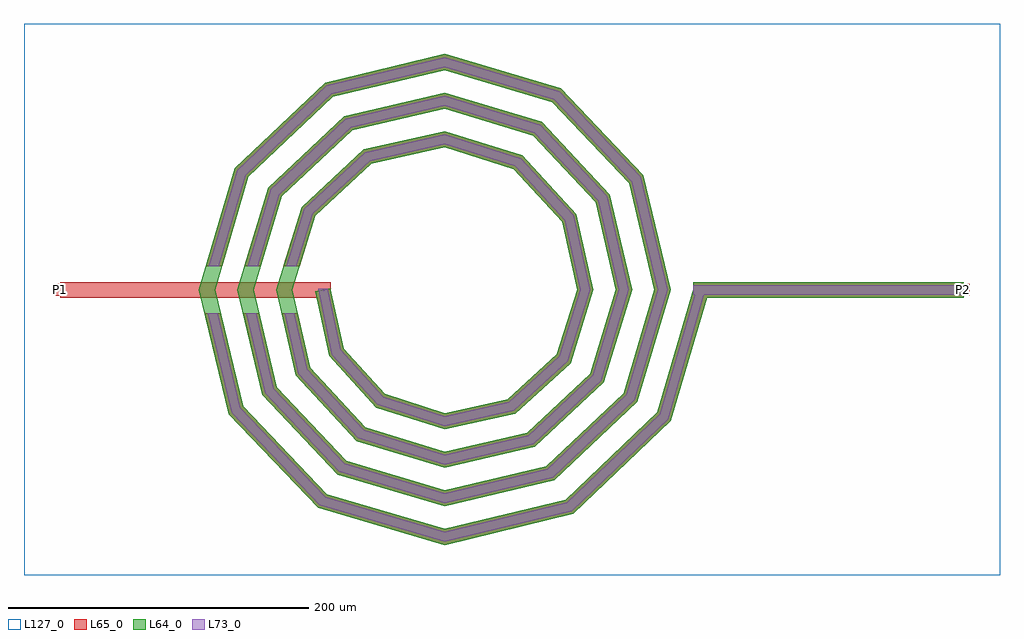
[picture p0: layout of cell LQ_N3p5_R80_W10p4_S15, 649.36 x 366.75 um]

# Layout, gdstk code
import gdstk
lib = gdstk.Library(unit=1e-6, precision=1e-09)
def R(c, l, rs):  # rectangles x0, y0, x1, y1
    for r in rs: c.add(gdstk.rectangle(r[:2], r[2:], *l))
def P(c, l, *ps):  # polygons
    for p in ps: c.add(gdstk.Polygon(p, *l))
L64_0 = (64, 0)
L65_0 = (65, 0)
L73_0 = (73, 0)
L127_0 = (127, 0)

lq_n3p5_r80_w10p4_s15 = lib.new_cell('LQ_N3p5_R80_W10p4_S15')
R(lq_n3p5_r80_w10p4_s15, L64_0, [(165.638,-5.2,345.638,5.2)])
P(lq_n3p5_r80_w10p4_s15, L64_0, [(-67.144,-39.065),(-39.692,-69.254),(0.246,-81.962),(42.259,-72.715),(74.807,-42.919),(88.384,0.229),(78.285,45.457),(46.143,80.361),(0.215,94.807),(-48.656,83.854),(-85.916,49.366),(-101.229,0.202),(-89.422,-51.856),(-52.588,-91.472),(0.19,-107.652),(55.058,-94.99),(97.029,-55.808),(114.074,0.18),(100.557,58.261),(59.028,102.586),(0.171,120.497),(-61.464,106.123),(-108.144,62.246),(-126.92,0.163),(-111.69,-64.669),(-65.464,-113.702),(0.155,-133.342),(67.874,-117.256),(119.261,-68.682),(139.765,0.148),(122.821,71.079),(71.899,124.82),(0.142,146.188),(-74.286,128.386),(-130.379,75.115),(-152.61,0.136),(-133.952,-77.492),(-78.331,-135.939),(0.131,-159.033),(80.699,-139.516),(141.499,-81.547),(165.848,1.464),(175.828,-1.464),(150.693,-87.15),(85.857,-148.967),(0.131,-169.797),(-83.943,-145.128),(-143.408,-82.641),(-163.374,0.136),(-139.563,80.736),(-79.425,137.848),(0.142,156.951),(77.53,133.998),(132.289,76.208),(150.528,0.148),(128.432,-74.324),(72.991,-126.729),(0.155,-144.105),(-71.118,-122.866),(-121.17,-69.773),(-137.682,0.163),(-117.3,67.914),(-66.555,115.612),(0.171,131.259),(64.71,111.733),(110.054,63.335),(124.836,0.18),(106.165,-61.506),(60.115,-104.496),(0.19,-118.413),(-58.304,-100.597),(-98.939,-56.894),(-111.99,0.202),(-95.029,55.103),(-53.672,93.382),(0.215,105.566),(51.902,89.459),(87.827,50.448),(99.143,0.229),(83.889,-48.704),(47.222,-82.272),(0.246,-92.72),(-45.508,-78.317),(-76.718,-43.994),(-86,-1.1),(-75.836,1.1)])
R(lq_n3p5_r80_w10p4_s15, L65_0, [(-255.718,-5.2,-75.718,5.2), (165.638,-5.2,345.638,5.2), (-259.718,-4,-251.718,4), (341.638,-4,349.638,4)])
P(lq_n3p5_r80_w10p4_s15, L65_0, [(-133.952,-77.492),(-78.331,-135.939),(0.131,-159.033),(80.699,-139.516),(141.499,-81.547),(165.848,1.464),(175.828,-1.464),(150.693,-87.15),(85.857,-148.968),(0.131,-169.797),(-83.943,-145.128),(-143.408,-82.641),(-159.579,-15.6),(-148.88,-15.6)],
  [(-111.69,-64.669),(-65.464,-113.702),(0.155,-133.342),(67.874,-117.256),(119.261,-68.682),(139.765,0.148),(122.821,71.079),(71.899,124.82),(0.142,146.188),(-74.286,128.386),(-130.379,75.115),(-147.962,15.6),(-158.806,15.6),(-139.563,80.736),(-79.425,137.848),(0.142,156.951),(77.53,133.998),(132.289,76.208),(150.528,0.148),(128.432,-74.324),(72.991,-126.729),(0.155,-144.105),(-71.119,-122.866),(-121.171,-69.773),(-133.961,-15.6),(-123.275,-15.6)],
  [(-89.422,-51.856),(-52.588,-91.472),(0.19,-107.652),(55.058,-94.99),(97.029,-55.808),(114.074,0.18),(100.557,58.261),(59.028,102.586),(0.171,120.497),(-61.464,106.124),(-108.144,62.246),(-122.178,15.6),(-133.038,15.6),(-117.3,67.914),(-66.555,115.612),(0.171,131.259),(64.71,111.733),(110.054,63.335),(124.836,0.18),(106.165,-61.506),(60.115,-104.496),(0.19,-118.413),(-58.304,-100.597),(-98.939,-56.894),(-108.378,-15.6),(-97.71,-15.6)],
  [(-39.692,-69.254),(0.246,-81.962),(42.26,-72.715),(74.807,-42.919),(88.385,0.229),(78.285,45.457),(46.143,80.361),(0.215,94.807),(-48.656,83.854),(-85.916,49.366),(-96.348,15.6),(-107.233,15.6),(-95.029,55.103),(-53.672,93.383),(0.215,105.566),(51.903,89.459),(87.827,50.448),(99.143,0.229),(83.889,-48.704),(47.222,-82.272),(0.246,-92.72),(-45.508,-78.317),(-76.718,-43.995),(-86,-1.1),(-75.836,1.1),(-67.144,-39.065)])
R(lq_n3p5_r80_w10p4_s15, L73_0, [(165.638,-3.2,345.638,3.2)])
P(lq_n3p5_r80_w10p4_s15, L73_0, [(-135.77,-78.482),(-79.411,-137.706),(0.081,-161.103),(81.691,-141.334),(143.267,-82.625),(167.768,0.901),(173.909,0.901),(148.925,-86.073),(84.865,-147.15),(0.081,-167.727),(-82.864,-143.361),(-141.589,-81.651),(-157.521,-15.6),(-150.938,-15.6)],
  [(-113.513,-65.65),(-66.552,-115.465),(0.095,-135.412),(68.858,-119.077),(121.025,-69.767),(141.835,0.091),(124.642,72.066),(72.982,126.585),(0.087,148.258),(-75.274,130.206),(-132.146,76.196),(-150.047,15.6),(-156.721,15.6),(-137.797,79.655),(-78.437,136.029),(0.087,154.881),(76.447,132.233),(130.468,75.222),(148.459,0.091),(126.668,-73.239),(72.007,-124.908),(0.095,-142.036),(-70.031,-121.104),(-119.347,-68.792),(-131.906,-15.6),(-125.33,-15.6)],
  [(-91.252,-52.825),(-53.687,-93.227),(0.117,-109.721),(56.031,-96.818),(98.786,-56.904),(116.144,0.111),(102.383,59.237),(60.12,104.345),(0.105,122.567),(-62.443,107.948),(-109.905,63.336),(-124.266,15.6),(-130.949,15.6),(-115.539,66.824),(-65.576,113.787),(0.105,129.19),(63.617,109.974),(108.228,62.36),(122.767,0.111),(104.408,-60.41),(59.143,-102.668),(0.117,-116.344),(-57.205,-98.843),(-97.109,-55.925),(-106.326,-15.6),(-99.761,-15.6)],
  [(-40.811,-70.997),(0.151,-84.031),(43.214,-74.553),(76.553,-44.031),(90.453,0.141),(80.12,46.417),(47.251,82.111),(0.132,96.876),(-49.62,85.687),(-87.669,50.469),(-98.441,15.6),(-105.139,15.6),(-93.276,53.999),(-52.707,91.55),(0.132,103.497),(50.795,87.71),(85.992,49.488),(97.074,0.141),(82.142,-47.592),(46.268,-80.434),(0.151,-90.651),(-44.389,-76.574),(-74.877,-43.046),(-84.046,0.677),(-77.79,0.677),(-68.985,-40.013)])
R(lq_n3p5_r80_w10p4_s15, L127_0, [(-279.718,-189.797,369.638,176.951)])
lq_n3p5_r80_w10p4_s15.add(gdstk.Label('P2', (345.638,0), layer=65, texttype=0))
lq_n3p5_r80_w10p4_s15.add(gdstk.Label('P1', (-255.718,0), layer=65, texttype=0))
lq_n3p5_r80_w10p4_s15.add(gdstk.Label('P2', (349.638,0), layer=145, texttype=0))
lq_n3p5_r80_w10p4_s15.add(gdstk.Label('P1', (-259.718,0), layer=145, texttype=0))

lib.write_gds('LQ_N3p5_R80_W10p4_S15.gds')
